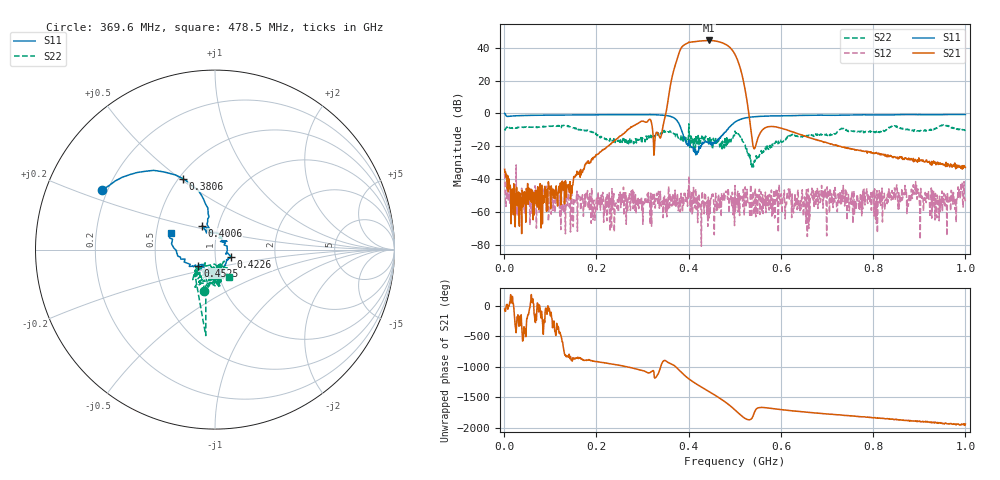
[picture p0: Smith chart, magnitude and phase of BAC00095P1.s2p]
!measured: 2026-10-29T11:10:54
!cal_instance: BB
!cal_created: 2026-10-29T10:46
!cal_file: SOLT_12_1_00M-1_00G_1001pt.cal
!port1_delay_ps: 0.0
!port2_delay_ps: 0.0
!host: lindon
! Created with skrf 2.1.0 (http://scikit-rf.org).
# Hz S RI R 50.0
!freq ReS11 ImS11 ReS21 ImS21 ReS12 ImS12 ReS22 ImS22
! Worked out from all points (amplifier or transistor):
!   1001 points, 1 MHz to 1 GHz, reference 50 ohm
!   highest |S21| = 44.4 dB at 443.6 MHz (marker M1)
!   |S21| within 3 dB of that: 389 MHz to 483.8 MHz (94.82 MHz wide, 21.7 % of centre)
!   unconditionally stable (mu >= 1): 1.651 MHz to 400.1 MHz; 401.1 MHz to 415.5 MHz; 415.6 MHz to end of sweep
!   at 166.8 MHz: K = 4302.45, MAG = -29.8 dB, |S12| = -56.5 dB
!   at 500.5 MHz: K = 1.05, MAG = 38.5 dB, |S12| = -43.9 dB
!   at 1 GHz: K = 1310.80, MAG = -23.9 dB, |S12| = -53.4 dB
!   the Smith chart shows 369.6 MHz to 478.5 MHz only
!   S11 on the Smith chart (normalised r, x): 369.6 MHz: 0.18, +0.24; 380.6 MHz: 0.52, +0.51; 400.6 MHz: 0.84, +0.22; 422.6 MHz: 1.19, -0.10; 452.5 MHz: 0.81, -0.15; 478.5 MHz: 0.59, +0.12
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1000000  -0.3686 0.9323  0.0111 -0.0166  -0.0142 0.00459  0.3271 -0.0362
1.67833e8  0.5531 -0.7092  -0.0147 -0.00605  0.00165 -0.00224  0.00475 -0.3136
3.34666e8  -0.7183 -0.5515  0.2038 -0.0963  0.00224 0.00359  0.0911 -0.2248
3.69631e8  -0.6268 0.3333  -1.112 25.64  -0.000528 0.00147  -0.0618 -0.2284
3.8062e8  -0.1793 0.3959  76.69 17.64  0.000526 0.00252  -0.1015 -0.1475
3.88612e8  -0.0385 0.2025  84.42 -80.33  0.000595 0.00138  -0.0891 -0.1128
3.94606e8  -0.033 0.119  10.6 -132.1  -0.00308 0.000137  -0.0836 -0.124
4.006e8  -0.0725 0.1313  -81 -125.3  0.0091 0.00826  -0.0514 -0.4792
4.11589e8  0.0206 0.0659  -151.8 -1.762  -0.0018 0.000399  -0.0142 -0.1654
4.22578e8  0.0901 -0.0429  -99.33 124  0.00346 -0.00104  0.0219 -0.1041
4.32568e8  0.0235 -0.1303  18.2 161.1  0.00198 -0.000668  0.0332 -0.1825
4.43557e8  -0.0492 -0.1124  137.5 93.61  -0.000926 -0.000526  0.0136 -0.1166
4.52548e8  -0.0974 -0.0894  162.7 -20.73  0.00289 -0.00208  -0.0501 -0.0914
4.66534e8  -0.1579 -0.0743  42.22 -144.6  -0.000934 0.000953  0.0139 -0.1284
4.78522e8  -0.2479 0.0933  -91.6 -91.44  0.0027 9.66e-05  0.0807 -0.1508
4.87513e8  -0.2289 0.288  -106.9 11.59  -0.000751 -0.000574  0.0252 -0.1554
4.94506e8  -0.1075 0.4463  -54.26 65.23  0.00297 -0.00269  -0.0667 -0.1375
5.005e8  0.042 0.5484  0.0659 62.32  -0.00384 0.0051  -0.1518 -0.2482
5.18482e8  0.5358 0.4616  8.821 -4.909  -0.00443 -0.00204  -0.1114 -0.0745
6.67333e8  0.3182 -0.8238  0.1202 0.1245  0.0042 -0.00326  0.1144 -0.1817
8.34166e8  -0.2383 -0.867  0.0247 -0.0413  0.00507 2.34e-05  -0.00657 -0.3783
1e9  -0.5831 -0.721  -0.0175 -0.0143  0.00213 -9.17e-05  -0.0836 -0.304
